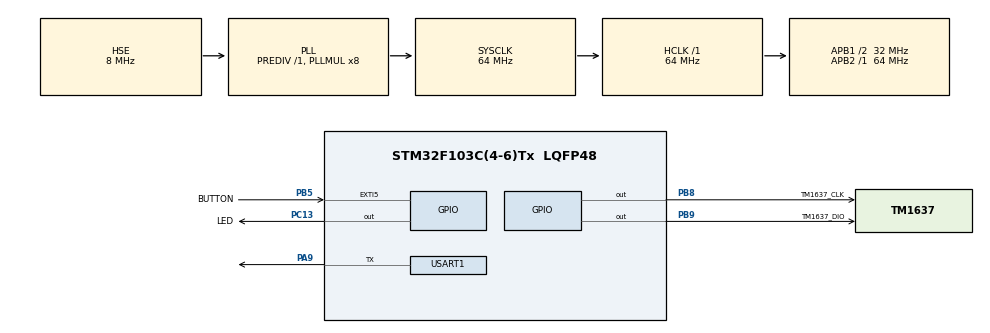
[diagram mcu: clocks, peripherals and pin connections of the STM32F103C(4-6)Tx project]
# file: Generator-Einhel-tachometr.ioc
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Mcu.Family=STM32F1
Mcu.Name=STM32F103C(4-6)Tx
Mcu.Package=LQFP48
NVIC.EXTI9_5_IRQn=true\:0\:0\:false\:false\:true\:true\:true\:true
NVIC.PriorityGroup=NVIC_PRIORITYGROUP_4
PA13.Mode=Serial_Wire
PA13.Signal=SYS_JTMS-SWDIO
PA14.Mode=Serial_Wire
PA14.Signal=SYS_JTCK-SWCLK
PA9.Mode=Half_duplex(single_wire_mode)
PA9.Signal=USART1_TX
PB5.GPIO_Label=BUTTON
PB5.GPIO_ModeDefaultEXTI=GPIO_MODE_IT_FALLING
PB5.GPIO_PuPd=GPIO_PULLUP
PB5.Signal=GPXTI5
PB8.GPIO_Label=TM1637_CLK
PB8.Signal=GPIO_Output
PB9.GPIO_Label=TM1637_DIO
PB9.Signal=GPIO_Output
PC13-TAMPER-RTC.GPIO_Label=LED
PC13-TAMPER-RTC.GPIO_ModeDefaultOutputPP=GPIO_MODE_OUTPUT_OD
PC13-TAMPER-RTC.GPIO_PuPd=GPIO_NOPULL
PC13-TAMPER-RTC.Signal=GPIO_Output
PD0-OSC_IN.Mode=HSE-External-Oscillator
PD0-OSC_IN.Signal=RCC_OSC_IN
PD1-OSC_OUT.Mode=HSE-External-Oscillator
PD1-OSC_OUT.Signal=RCC_OSC_OUT
ProjectManager.HeapSize=0x200
ProjectManager.StackSize=0x400
ProjectManager.TargetToolchain=STM32CubeIDE
RCC.AHBFreq_Value=64000000
RCC.APB1CLKDivider=RCC_HCLK_DIV2
RCC.APB1Freq_Value=32000000
RCC.APB1TimFreq_Value=64000000
RCC.APB2Freq_Value=64000000
RCC.APB2TimFreq_Value=64000000
RCC.HCLKFreq_Value=64000000
RCC.PLLMUL=RCC_PLL_MUL8
RCC.PLLSourceVirtual=RCC_PLLSOURCE_HSE
RCC.SYSCLKFreq_VALUE=64000000
RCC.SYSCLKSource=RCC_SYSCLKSOURCE_PLLCLK
RCC.USBFreq_Value=64000000
TIM3.Prescaler=640-1
USART1.Mode=MODE_TX
USART1.VirtualMode=VM_ASYNC
VP_TIM3_VS_ClockSourceINT.Mode=Internal
board=custom

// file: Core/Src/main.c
/* USER CODE BEGIN Header */
/**
  ******************************************************************************
  * @file           : main.c
  * @brief          : Main program body
  ******************************************************************************
  * @attention
  *
  * Copyright (c) 2022 STMicroelectronics.
  * All rights reserved.
  *
  * This software is licensed under terms that can be found in the LICENSE file
  * in the root directory of this software component.
  * If no LICENSE file comes with this software, it is provided AS-IS.
  *
  ******************************************************************************
  */
/* USER CODE END Header */
#include "main.h"
#include "tim.h"
#include "usart.h"
#include "gpio.h"

/* USER CODE BEGIN Includes */

	#include <stdio.h>
	#include <string.h>
	#include <stdlib.h>
	#include "tm1637_sm.h"

/* USER CODE END Includes */

/* USER CODE BEGIN PD */

	#define 	MY_DEBUG
	#define 	UART_DEBUG 			&huart1
	#define 	SOFT_VERSION 		100

/* USER CODE END PD */

/* USER CODE BEGIN PV */

	char 		DataChar[0xFF]		= { 0 } ;
	//uint8_t 	display_update_tim	= 0 ;
	uint8_t 	display_update_ext	= 0 ;
	uint32_t	tacho_value_u32		= 0 ;

/* USER CODE END PV */

void SystemClock_Config(void);
/* USER CODE BEGIN PFP */

void UartDebug(char* _text);
void PrintSoftVersion(uint32_t _soft_version_u32);

/* USER CODE END PFP */

int main(void)
{

  /* MCU Configuration--------------------------------------------------------*/

  /* Reset of all peripherals, Initializes the Flash interface and the Systick. */
  HAL_Init();

  /* Configure the system clock */
  SystemClock_Config();

  /* Initialize all configured peripherals */
  MX_GPIO_Init();
  MX_TIM3_Init();
  MX_USART1_UART_Init();
  /* USER CODE BEGIN 2 */

  sprintf(DataChar,"\r\n\r\n\tTachometr for generator Einhel 800/1"); UartDebug(DataChar) ;
  PrintSoftVersion(SOFT_VERSION);

  tm1637_struct htm1637;
  htm1637.clk_port = TM1637_CLK_GPIO_Port;
  htm1637.clk_pin  = TM1637_CLK_Pin;
  htm1637.dio_port = TM1637_DIO_GPIO_Port;
  htm1637.dio_pin  = TM1637_DIO_Pin;
  tm1637_Init( &htm1637 );
  tm1637_Set_Brightness( &htm1637, bright_full);
  tm1637_Display_Decimal( &htm1637, 1234, no_double_dot);
  HAL_Delay(1000);

  TIM3->CNT = 0 ;
  HAL_TIM_Base_Start_IT( &htim3) ;

  /* USER CODE END 2 */

  /* Infinite loop */
  /* USER CODE BEGIN WHILE */
  while (1)
  {
	if (display_update_ext == 1) {
		if ( tacho_value_u32 < 3500 ) {
			tacho_value_u32 = (60 * 1000 * 100)/tacho_value_u32 ;
			tm1637_Display_Decimal( &htm1637, tacho_value_u32, no_double_dot);
			//sprintf(DataChar," value = %lu\r\n", tacho_value_u32); UartDebug(DataChar) ;
			HAL_Delay(200);
		}
		display_update_ext = 0;
	}

    /* USER CODE END WHILE */

  }
}

void SystemClock_Config(void)
{
  RCC_OscInitTypeDef RCC_OscInitStruct = {0};
  RCC_ClkInitTypeDef RCC_ClkInitStruct = {0};

  /** Initializes the RCC Oscillators according to the specified parameters
  * in the RCC_OscInitTypeDef structure.
  */
  RCC_OscInitStruct.OscillatorType = RCC_OSCILLATORTYPE_HSE;
  RCC_OscInitStruct.HSEState = RCC_HSE_ON;
  RCC_OscInitStruct.HSEPredivValue = RCC_HSE_PREDIV_DIV1;
  RCC_OscInitStruct.HSIState = RCC_HSI_ON;
  RCC_OscInitStruct.PLL.PLLState = RCC_PLL_ON;
  RCC_OscInitStruct.PLL.PLLSource = RCC_PLLSOURCE_HSE;
  RCC_OscInitStruct.PLL.PLLMUL = RCC_PLL_MUL8;
  if (HAL_RCC_OscConfig(&RCC_OscInitStruct) != HAL_OK)
  {
    Error_Handler();
  }

  /** Initializes the CPU, AHB and APB buses clocks
  */
  RCC_ClkInitStruct.ClockType = RCC_CLOCKTYPE_HCLK|RCC_CLOCKTYPE_SYSCLK
                              |RCC_CLOCKTYPE_PCLK1|RCC_CLOCKTYPE_PCLK2;
  RCC_ClkInitStruct.SYSCLKSource = RCC_SYSCLKSOURCE_PLLCLK;
  RCC_ClkInitStruct.AHBCLKDivider = RCC_SYSCLK_DIV1;
  RCC_ClkInitStruct.APB1CLKDivider = RCC_HCLK_DIV2;
  RCC_ClkInitStruct.APB2CLKDivider = RCC_HCLK_DIV1;

  if (HAL_RCC_ClockConfig(&RCC_ClkInitStruct, FLASH_LATENCY_2) != HAL_OK)
  {
    Error_Handler();
  }
}

/* USER CODE BEGIN 4 */

void UartDebug(char* _text) {
#ifdef MY_DEBUG
	HAL_UART_Transmit(UART_DEBUG, (uint8_t*)_text, strlen(_text), 100);
#endif
} //**************************************************************************

void PrintSoftVersion(uint32_t _soft_version_u32) {
	int soft_version_arr_int[3];
	soft_version_arr_int[0] = (_soft_version_u32 / 100)     ;
	soft_version_arr_int[1] = (_soft_version_u32 /  10) %10 ;
	soft_version_arr_int[2] = (_soft_version_u32      ) %10 ;

	sprintf(DataChar," v%d.%d.%d \r\n",
				soft_version_arr_int[0] ,
				soft_version_arr_int[1] ,
				soft_version_arr_int[2] ) ;
	UartDebug(DataChar) ;

	#define 	DATE_as_int_str 	(__DATE__)
	#define 	TIME_as_int_str 	(__TIME__)
	sprintf(DataChar,"\tBuild: %s. Time: %s.\r\n" ,
			DATE_as_int_str ,
			TIME_as_int_str ) ;
	UartDebug(DataChar) ;
}//**************************************************************************

void HAL_GPIO_EXTI_Callback(uint16_t GPIO_Pin) {
	if ( GPIO_Pin == BUTTON_Pin ) {
		uint32_t tim3_current_u32 = TIM3->CNT ;
		if ( tim3_current_u32 > 400 ) {
			TIM3->CNT = 0 ;
			HAL_GPIO_TogglePin(LED_GPIO_Port, LED_Pin);
			tacho_value_u32 = tim3_current_u32 ;
			display_update_ext = 1 ;
		}
	}
} //**************************************************************************

//void HAL_TIM_PeriodElapsedCallback(TIM_HandleTypeDef *htim) {
//	if ( htim == &htim3 ) {
//		tacho_value_u32 = 65535;
//		display_update_tim = 1 ;
//	}
//} //**************************************************************************

/* USER CODE END 4 */

void Error_Handler(void)
{
  __disable_irq();
  while (1)
  {
  }
}
